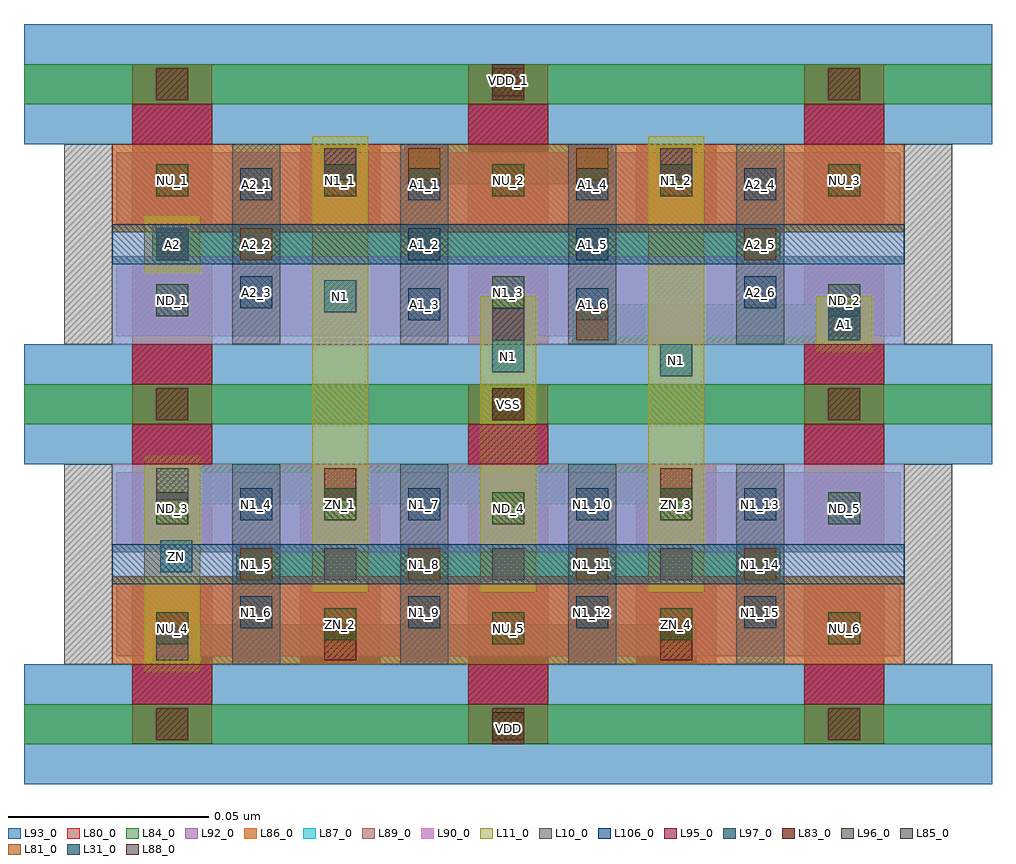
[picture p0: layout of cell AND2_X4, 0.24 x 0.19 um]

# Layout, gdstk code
import gdstk
lib = gdstk.Library(unit=1e-6, precision=1e-09)
def R(c, l, rs):  # rectangles x0, y0, x1, y1
    for r in rs: c.add(gdstk.rectangle(r[:2], r[2:], *l))
def A(c, l, x, y, w, h, nx, ny, dx, dy):  # array of equal rectangles
    R(c, l, [(x+i*dx, y+j*dy, x+i*dx+w, y+j*dy+h) for i in range(nx) for j in range(ny)])
L10_0 = (10, 0)
L11_0 = (11, 0)
L31_0 = (31, 0)
L80_0 = (80, 0)
L81_0 = (81, 0)
L83_0 = (83, 0)
L84_0 = (84, 0)
L85_0 = (85, 0)
L86_0 = (86, 0)
L87_0 = (87, 0)
L88_0 = (88, 0)
L89_0 = (89, 0)
L90_0 = (90, 0)
L92_0 = (92, 0)
L93_0 = (93, 0)
L95_0 = (95, 0)
L96_0 = (96, 0)
L97_0 = (97, 0)
L106_0 = (106, 0)

and2_x4 = lib.new_cell('AND2_X4')
A(and2_x4, L10_0, -0.027, -0.065, 0.012, 0.05, 6, 2, 0.042, 0.08)
A(and2_x4, L11_0, -0.007, -0.047, 0.014, 0.034, 4, 1, 0.042, 0)
A(and2_x4, L11_0, 0.035, -0.027, 0.014, 0.034, 3, 2, 0.042, 0.02)
R(and2_x4, L11_0, [(-0.007,-0.067,0.007,-0.033), (0.035,0.013,0.049,0.047), (0.119,0.013,0.133,0.047), (0.161,0.013,0.175,0.027), (-0.007,0.033,0.007,0.047), (0.035,0.033,0.049,0.067), (0.119,0.033,0.133,0.067)])
R(and2_x4, L31_0, [(-0.003,-0.042,0.005,-0.034), (0.122,0.007,0.13,0.015), (0.08,0.008,0.088,0.016), (0.164,0.016,0.172,0.024), (0.038,0.023,0.046,0.031), (-0.004,0.036,0.004,0.044)])
A(and2_x4, L80_0, -0.01, -0.085, 0.02, 0.021, 3, 1, 0.084, 0)
A(and2_x4, L80_0, -0.01, -0.065, 0.02, 0.02, 5, 1, 0.042, 0)
A(and2_x4, L80_0, -0.01, -0.024, 0.02, 0.029, 3, 2, 0.084, 0.08)
A(and2_x4, L80_0, -0.01, 0.015, 0.02, 0.02, 3, 1, 0.084, 0)
R(and2_x4, L80_0, [(-0.01,-0.035,0.01,-0.015), (-0.01,-0.035,0.01,-0.015), (0.032,-0.035,0.052,-0.015), (0.032,-0.035,0.052,-0.015), (0.074,-0.035,0.094,-0.015), (0.074,-0.035,0.094,-0.015), (0.116,-0.035,0.136,-0.015), (0.116,-0.035,0.136,-0.015), (0.158,-0.035,0.178,-0.015), (0.158,-0.035,0.178,-0.015), (-0.01,-0.005,0.01,0.016), (0.158,-0.005,0.178,0.016), (-0.01,0.045,0.01,0.065), (-0.01,0.045,0.01,0.065), (0.032,0.045,0.052,0.065), (0.032,0.045,0.052,0.065), (0.074,0.045,0.094,0.065), (0.074,0.045,0.094,0.065), (0.116,0.045,0.136,0.065), (0.116,0.045,0.136,0.065), (0.158,0.045,0.178,0.065), (0.158,0.045,0.178,0.065)])
A(and2_x4, L81_0, 0.017, -0.044, 0.008, 0.008, 4, 1, 0.042, 0)
R(and2_x4, L81_0, [(0.101,0.016,0.109,0.024), (0.017,0.036,0.025,0.044), (0.143,0.036,0.151,0.044), (0.059,0.056,0.067,0.064), (0.101,0.056,0.109,0.064)])
A(and2_x4, L83_0, -0.004, -0.084, 0.008, 0.008, 3, 3, 0.084, 0.08)
R(and2_x4, L83_0, [(0.038,-0.064,0.046,-0.056), (0.122,-0.064,0.13,-0.056), (0.038,-0.024,0.046,-0.016), (0.122,-0.024,0.13,-0.016), (-0.004,-0.004,0.004,0.004), (0.164,-0.004,0.172,0.004), (0.08,0.016,0.088,0.024), (0.038,0.056,0.046,0.064), (0.122,0.056,0.13,0.064)])
A(and2_x4, L84_0, -0.037, -0.085, 0.242, 0.01, 1, 3, 0, 0.08)
A(and2_x4, L84_0, -0.005, -0.065, 0.031, 0.01, 6, 2, 0.021, 0.04)
A(and2_x4, L84_0, 0.016, -0.045, 0.031, 0.01, 6, 1, 0.021, 0)
A(and2_x4, L84_0, 0.037, 0.035, 0.031, 0.01, 5, 1, 0.021, 0)
R(and2_x4, L84_0, [(0.079,0.015,0.089,0.025), (0.1,0.015,0.173,0.025), (-0.005,0.035,0.047,0.045), (0.037,0.055,0.047,0.065), (0.058,0.055,0.089,0.065), (0.079,0.055,0.11,0.065), (0.121,0.055,0.131,0.065)])
A(and2_x4, L85_0, 0.038, -0.044, 0.008, 0.008, 3, 1, 0.042, 0)
R(and2_x4, L85_0, [(-0.004,-0.064,0.004,-0.056), (-0.004,-0.024,0.004,-0.016), (0.08,0.016,0.088,0.024), (0.164,0.016,0.172,0.024), (-0.004,0.036,0.004,0.044), (0.038,0.056,0.046,0.064), (0.122,0.056,0.13,0.064)])
R(and2_x4, L86_0, [(-0.015,-0.065,0.183,-0.043), (-0.015,0.043,0.183,0.065)])
R(and2_x4, L87_0, [(-0.015,-0.037,0.183,-0.015), (-0.015,0.015,0.183,0.037)])
A(and2_x4, L88_0, 0.08, -0.085, 0.008, 0.008, 1, 3, 0, 0.081)
R(and2_x4, L89_0, [(-0.015,-0.065,0.183,-0.043), (-0.015,0.043,0.183,0.065)])
R(and2_x4, L90_0, [(-0.015,-0.037,0.183,-0.015), (-0.015,0.015,0.183,0.037)])
R(and2_x4, L92_0, [(-0.014,-0.063,0.182,-0.045), (-0.014,-0.035,0.182,-0.017), (-0.014,0.017,0.182,0.035), (-0.014,0.045,0.182,0.063)])
A(and2_x4, L93_0, -0.037, -0.095, 0.242, 0.03, 1, 3, 0, 0.08)
A(and2_x4, L95_0, -0.01, -0.075, 0.02, 0.01, 3, 2, 0.084, 0.06)
A(and2_x4, L95_0, -0.01, 0.065, 0.02, 0.01, 3, 1, 0.084, 0)
R(and2_x4, L95_0, [(-0.01,0.005,0.01,0.015), (0.158,0.005,0.178,0.015)])
A(and2_x4, L96_0, -0.004, -0.06, 0.008, 0.008, 3, 2, 0.084, 0.03)
A(and2_x4, L96_0, -0.004, 0.052, 0.008, 0.008, 5, 1, 0.042, 0)
R(and2_x4, L96_0, [(0.038,-0.059,0.046,-0.051), (0.122,-0.059,0.13,-0.051), (0.038,-0.029,0.046,-0.021), (0.122,-0.029,0.13,-0.021), (-0.004,0.022,0.004,0.03), (0.164,0.022,0.172,0.03), (0.08,0.024,0.088,0.032)])
A(and2_x4, L97_0, 0.017, -0.056, 0.008, 0.008, 4, 2, 0.042, 0.012)
A(and2_x4, L97_0, 0.017, -0.029, 0.008, 0.008, 4, 2, 0.042, 0.065)
A(and2_x4, L97_0, 0.017, 0.051, 0.008, 0.008, 4, 1, 0.042, 0)
R(and2_x4, L97_0, [(0.059,0.021,0.067,0.029), (0.101,0.021,0.109,0.029), (0.017,0.024,0.025,0.032), (0.143,0.024,0.151,0.032)])
R(and2_x4, L106_0, [(-0.015,-0.045,0.183,-0.035), (-0.015,0.035,0.183,0.045)])
and2_x4.add(gdstk.Label('VSS', (0.084,0), layer=88, texttype=0))
and2_x4.add(gdstk.Label('VDD', (0.084,-0.081), layer=88, texttype=0))
and2_x4.add(gdstk.Label('VDD_1', (0.084,0.081), layer=88, texttype=0))
and2_x4.add(gdstk.Label('N1', (0.126,0.011), layer=31, texttype=0))
and2_x4.add(gdstk.Label('N1', (0.084,0.012), layer=31, texttype=0))
and2_x4.add(gdstk.Label('N1', (0.042,0.027), layer=31, texttype=0))
and2_x4.add(gdstk.Label('ZN', (0.001,-0.038), layer=31, texttype=0))
and2_x4.add(gdstk.Label('A1', (0.168,0.02), layer=31, texttype=0))
and2_x4.add(gdstk.Label('A2', (0,0.04), layer=31, texttype=0))
and2_x4.add(gdstk.Label('ZN_3', (0.126,-0.025), layer=96, texttype=0))
and2_x4.add(gdstk.Label('ZN_4', (0.126,-0.055), layer=96, texttype=0))
and2_x4.add(gdstk.Label('ZN_1', (0.042,-0.025), layer=96, texttype=0))
and2_x4.add(gdstk.Label('ZN_2', (0.042,-0.055), layer=96, texttype=0))
and2_x4.add(gdstk.Label('NU_6', (0.168,-0.056), layer=96, texttype=0))
and2_x4.add(gdstk.Label('ND_5', (0.168,-0.026), layer=96, texttype=0))
and2_x4.add(gdstk.Label('NU_5', (0.084,-0.056), layer=96, texttype=0))
and2_x4.add(gdstk.Label('ND_4', (0.084,-0.026), layer=96, texttype=0))
and2_x4.add(gdstk.Label('ND_3', (0,-0.026), layer=96, texttype=0))
and2_x4.add(gdstk.Label('NU_4', (0,-0.056), layer=96, texttype=0))
and2_x4.add(gdstk.Label('N1_3', (0.084,0.028), layer=96, texttype=0))
and2_x4.add(gdstk.Label('ND_2', (0.168,0.026), layer=96, texttype=0))
and2_x4.add(gdstk.Label('NU_3', (0.168,0.056), layer=96, texttype=0))
and2_x4.add(gdstk.Label('NU_2', (0.084,0.056), layer=96, texttype=0))
and2_x4.add(gdstk.Label('N1_2', (0.126,0.056), layer=96, texttype=0))
and2_x4.add(gdstk.Label('N1_1', (0.042,0.056), layer=96, texttype=0))
and2_x4.add(gdstk.Label('NU_1', (0,0.056), layer=96, texttype=0))
and2_x4.add(gdstk.Label('ND_1', (0,0.026), layer=96, texttype=0))
and2_x4.add(gdstk.Label('N1_15', (0.147,-0.052), layer=97, texttype=0))
and2_x4.add(gdstk.Label('N1_13', (0.147,-0.025), layer=97, texttype=0))
and2_x4.add(gdstk.Label('N1_14', (0.147,-0.04), layer=97, texttype=0))
and2_x4.add(gdstk.Label('N1_11', (0.105,-0.04), layer=97, texttype=0))
and2_x4.add(gdstk.Label('N1_10', (0.105,-0.025), layer=97, texttype=0))
and2_x4.add(gdstk.Label('N1_12', (0.105,-0.052), layer=97, texttype=0))
and2_x4.add(gdstk.Label('N1_8', (0.063,-0.04), layer=97, texttype=0))
and2_x4.add(gdstk.Label('N1_7', (0.063,-0.025), layer=97, texttype=0))
and2_x4.add(gdstk.Label('N1_9', (0.063,-0.052), layer=97, texttype=0))
and2_x4.add(gdstk.Label('N1_4', (0.021,-0.025), layer=97, texttype=0))
and2_x4.add(gdstk.Label('N1_5', (0.021,-0.04), layer=97, texttype=0))
and2_x4.add(gdstk.Label('N1_6', (0.021,-0.052), layer=97, texttype=0))
and2_x4.add(gdstk.Label('A2_6', (0.147,0.028), layer=97, texttype=0))
and2_x4.add(gdstk.Label('A2_5', (0.147,0.04), layer=97, texttype=0))
and2_x4.add(gdstk.Label('A2_4', (0.147,0.055), layer=97, texttype=0))
and2_x4.add(gdstk.Label('A1_4', (0.105,0.055), layer=97, texttype=0))
and2_x4.add(gdstk.Label('A1_5', (0.105,0.04), layer=97, texttype=0))
and2_x4.add(gdstk.Label('A1_6', (0.105,0.025), layer=97, texttype=0))
and2_x4.add(gdstk.Label('A2_3', (0.021,0.028), layer=97, texttype=0))
and2_x4.add(gdstk.Label('A2_2', (0.021,0.04), layer=97, texttype=0))
and2_x4.add(gdstk.Label('A2_1', (0.021,0.055), layer=97, texttype=0))
and2_x4.add(gdstk.Label('A1_1', (0.063,0.055), layer=97, texttype=0))
and2_x4.add(gdstk.Label('A1_2', (0.063,0.04), layer=97, texttype=0))
and2_x4.add(gdstk.Label('A1_3', (0.063,0.025), layer=97, texttype=0))

lib.write_gds('AND2_X4.gds')
